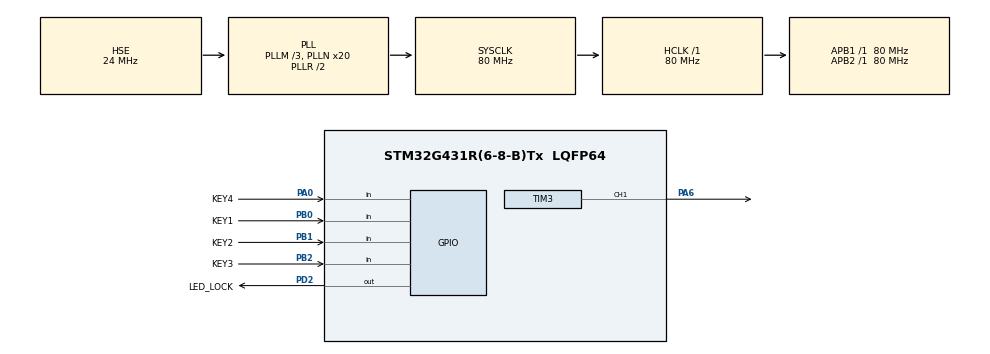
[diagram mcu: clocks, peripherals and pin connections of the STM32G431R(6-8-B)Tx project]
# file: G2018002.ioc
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Mcu.Family=STM32G4
Mcu.Name=STM32G431R(6-8-B)Tx
Mcu.Package=LQFP64
NVIC.PriorityGroup=NVIC_PRIORITYGROUP_4
PA0.GPIO_Label=KEY4
PA0.Signal=GPIO_Input
PA6.Signal=S_TIM3_CH1
PB0.GPIO_Label=KEY1
PB0.Signal=GPIO_Input
PB1.GPIO_Label=KEY2
PB1.Signal=GPIO_Input
PB2.GPIO_Label=KEY3
PB2.Signal=GPIO_Input
PD2.GPIO_Label=LED_LOCK
PD2.Signal=GPIO_Output
PF0-OSC_IN.Mode=HSE-External-Oscillator
PF0-OSC_IN.Signal=RCC_OSC_IN
PF1-OSC_OUT.Mode=HSE-External-Oscillator
PF1-OSC_OUT.Signal=RCC_OSC_OUT
ProjectManager.HeapSize=0x200
ProjectManager.StackSize=0x400
ProjectManager.TargetToolchain=MDK-ARM V5.32
RCC.ADC12Freq_Value=80000000
RCC.AHBFreq_Value=80000000
RCC.APB1Freq_Value=80000000
RCC.APB1TimFreq_Value=80000000
RCC.APB2Freq_Value=80000000
RCC.APB2TimFreq_Value=80000000
RCC.CortexFreq_Value=80000000
RCC.EXTERNAL_CLOCK_VALUE=12288000
RCC.HCLKFreq_Value=80000000
RCC.HSE_VALUE=24000000
RCC.HSI48_VALUE=48000000
RCC.HSI_VALUE=16000000
RCC.LSE_VALUE=32768
RCC.PLLM=RCC_PLLM_DIV3
RCC.PLLN=20
RCC.PLLSourceVirtual=RCC_PLLSOURCE_HSE
RCC.SYSCLKFreq_VALUE=80000000
RCC.SYSCLKSource=RCC_SYSCLKSOURCE_PLLCLK
RCC.USBFreq_Value=80000000
RCC.VCOOutputFreq_Value=160000000
SH.S_TIM3_CH1.0=TIM3_CH1,PWM Generation1 CH1
TIM3.AutoReloadPreload=TIM_AUTORELOAD_PRELOAD_DISABLE
TIM3.Channel-PWM\ Generation1\ CH1=TIM_CHANNEL_1
TIM3.PeriodNoDither=999
TIM3.Prescaler=79
TIM3.PulseNoDither_1=800
VP_SYS_VS_DBSignals.Mode=DisableDeadBatterySignals
board=custom

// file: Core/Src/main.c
/* USER CODE BEGIN Header */
/**
 ******************************************************************************
 * @file           : main.c
 * @brief          : Main program body
 ******************************************************************************
 * @attention
 *
 * <h2><center>&copy; Copyright (c) 2022 STMicroelectronics.
 * All rights reserved.</center></h2>
 *
 * This software component is licensed by ST under BSD 3-Clause license,
 * the "License"; You may not use this file except in compliance with the
 * License. You may obtain a copy of the License at:
 *                        opensource.org/licenses/BSD-3-Clause
 *
 ******************************************************************************
 */
/* USER CODE END Header */
#include "main.h"
#include "tim.h"
#include "gpio.h"

/* USER CODE BEGIN Includes */
#include "lcd.h"
#include "bsp.h"
#include "bsp_i2c.h"

#include "stdio.h"
#include "string.h"

/* USER CODE END Includes */

/* USER CODE BEGIN PTD */
typedef enum
{
    StandBy,
    Setting,
    Running,
    Pause,
} Timer_State_Type;

/* USER CODE END PTD */

/* USER CODE BEGIN PD */

// 软件定时器
#define Task_Delay(Task_ID, Tick)               \
    if (SW_Timer_Tick[Task_ID] > HAL_GetTick()) \
        return;                                 \
    SW_Timer_Tick[Task_ID] = HAL_GetTick() + Tick;

// 地址偏移 每道题不会覆盖之前的数据
#define EEPROM_OFFSET 4

/* USER CODE END PD */

/* USER CODE BEGIN PV */
static vu32 SW_Timer_Tick[6] = {0};

u8 LCD_Update_Flag = 1;
u8 LCD_String_Buffer[21] = {0};
u8 KEY_Val, KEY_Down, KEY_Old = 0, KEY_Up = 0;
u8 LED_State = 0x00;

u8 Timer_Index = 0;
Timer_State_Type Timer_State = StandBy;
u8 Timer_Data_Disp[3] = {0};
u32 Timer_Convert_Sec = 0; // 将时间转换为秒
u32 Timer_Tick_Dt = 0;     // ※ 保存现场的变量
u8 Setting_Index = 0;

/* USER CODE END PV */

void SystemClock_Config(void);
/* USER CODE BEGIN PFP */
void LED_Task(void);
void LCD_Task(void);
void Timer_Task(void);
void KEY_With_Logic_Task(void);
void Timer_Set_State(Timer_State_Type State);

/* USER CODE END PFP */

int main(void)
{

    /* MCU Configuration--------------------------------------------------------*/

    /* Reset of all peripherals, Initializes the Flash interface and the Systick. */
    HAL_Init();

    /* Configure the system clock */
    SystemClock_Config();

    /* Initialize all configured peripherals */
    MX_GPIO_Init();
    MX_TIM3_Init();
    /* USER CODE BEGIN 2 */
    LCD_Init();
    LCD_Clear(Black);
    LCD_SetBackColor(Black);
    LCD_SetTextColor(White);

    LED_Disp(LED_State);

    I2CInit();
    // EEPROM_Write((u8 *)Timer_Data_Ctrl, 15, EEPROM_OFFSET);
    Timer_Set_State(StandBy);

    __HAL_TIM_SET_COMPARE(&htim3, TIM_CHANNEL_1, 800);
    /* USER CODE END 2 */

    /* Infinite loop */
    /* USER CODE BEGIN WHILE */
    while (1)
    {
        LED_Task();
        LCD_Task();
        Timer_Task();
        KEY_With_Logic_Task();

        /* USER CODE END WHILE */

    }
}

void SystemClock_Config(void)
{
    RCC_OscInitTypeDef RCC_OscInitStruct = {0};
    RCC_ClkInitTypeDef RCC_ClkInitStruct = {0};

    /** Configure the main internal regulator output voltage
     */
    HAL_PWREx_ControlVoltageScaling(PWR_REGULATOR_VOLTAGE_SCALE1);
    /** Initializes the RCC Oscillators according to the specified parameters
     * in the RCC_OscInitTypeDef structure.
     */
    RCC_OscInitStruct.OscillatorType = RCC_OSCILLATORTYPE_HSE;
    RCC_OscInitStruct.HSEState = RCC_HSE_ON;
    RCC_OscInitStruct.PLL.PLLState = RCC_PLL_ON;
    RCC_OscInitStruct.PLL.PLLSource = RCC_PLLSOURCE_HSE;
    RCC_OscInitStruct.PLL.PLLM = RCC_PLLM_DIV3;
    RCC_OscInitStruct.PLL.PLLN = 20;
    RCC_OscInitStruct.PLL.PLLP = RCC_PLLP_DIV2;
    RCC_OscInitStruct.PLL.PLLQ = RCC_PLLQ_DIV2;
    RCC_OscInitStruct.PLL.PLLR = RCC_PLLR_DIV2;
    if (HAL_RCC_OscConfig(&RCC_OscInitStruct) != HAL_OK)
    {
        Error_Handler();
    }
    /** Initializes the CPU, AHB and APB buses clocks
     */
    RCC_ClkInitStruct.ClockType = RCC_CLOCKTYPE_HCLK | RCC_CLOCKTYPE_SYSCLK | RCC_CLOCKTYPE_PCLK1 | RCC_CLOCKTYPE_PCLK2;
    RCC_ClkInitStruct.SYSCLKSource = RCC_SYSCLKSOURCE_PLLCLK;
    RCC_ClkInitStruct.AHBCLKDivider = RCC_SYSCLK_DIV1;
    RCC_ClkInitStruct.APB1CLKDivider = RCC_HCLK_DIV1;
    RCC_ClkInitStruct.APB2CLKDivider = RCC_HCLK_DIV1;

    if (HAL_RCC_ClockConfig(&RCC_ClkInitStruct, FLASH_LATENCY_2) != HAL_OK)
    {
        Error_Handler();
    }
}

/* USER CODE BEGIN 4 */
void Timer_Set_State(Timer_State_Type State)
{
    switch (State)
    {
    case StandBy:
        Timer_State = StandBy;
        Timer_Tick_Dt = 0;

        LED_State = 0;
        LED_Disp(LED_State);
        HAL_TIM_PWM_Stop(&htim3, TIM_CHANNEL_1);

        EEPROM_Read((u8 *)Timer_Data_Disp, 3, Timer_Index * 3 + EEPROM_OFFSET);
        break;

    case Setting:
        Timer_State = Setting;
        Timer_Tick_Dt = 0;

        LED_State = 0;
        LED_Disp(LED_State);
        HAL_TIM_PWM_Stop(&htim3, TIM_CHANNEL_1);
        break;

    case Running:
        if (Timer_Data_Disp[0] || Timer_Data_Disp[1] || Timer_Data_Disp[2])
        {
            Timer_State = Running;
            SW_Timer_Tick[3] = HAL_GetTick() + Timer_Tick_Dt; // ※ 恢复现场

            HAL_TIM_PWM_Start(&htim3, TIM_CHANNEL_1);
        }
        break;

    case Pause:
        Timer_State = Pause;
        Timer_Tick_Dt = SW_Timer_Tick[3] - HAL_GetTick(); // ※ 保存现场

        LED_State = 0;
        LED_Disp(LED_State);
        HAL_TIM_PWM_Stop(&htim3, TIM_CHANNEL_1);
        break;
    }
}

void LED_Task(void)
{
    if (Timer_State == Running)
    {
        Task_Delay(4, 250);
        LED_State ^= 1;
        LED_Disp(LED_State);
    }
}

void LCD_Task(void)
{
    Task_Delay(0, 100);

    sprintf((char *)LCD_String_Buffer, "   No:%d", Timer_Index + 1);
    LCD_DisplayStringLine(Line2, LCD_String_Buffer);

    sprintf((char *)LCD_String_Buffer, "      %02d:%02d:%02d    ", Timer_Data_Disp[0], Timer_Data_Disp[1], Timer_Data_Disp[2]);
    if (Timer_State == Setting)
    {
        switch (Setting_Index)
        {
        case 0:
            LCD_SetBackColor(Blue);
            LCD_DisplayChar(Line5, 319 - 16 * 6, LCD_String_Buffer[6]);
            LCD_DisplayChar(Line5, 319 - 16 * 7, LCD_String_Buffer[7]);
            LCD_SetBackColor(Black);
            LCD_DisplayChar(Line5, 319 - 16 * 12, LCD_String_Buffer[12]);
            LCD_DisplayChar(Line5, 319 - 16 * 13, LCD_String_Buffer[13]);
            break;

        case 1:
            LCD_SetBackColor(Blue);
            LCD_DisplayChar(Line5, 319 - 16 * 9, LCD_String_Buffer[9]);
            LCD_DisplayChar(Line5, 319 - 16 * 10, LCD_String_Buffer[10]);
            LCD_SetBackColor(Black);
            LCD_DisplayChar(Line5, 319 - 16 * 6, LCD_String_Buffer[6]);
            LCD_DisplayChar(Line5, 319 - 16 * 7, LCD_String_Buffer[7]);
            break;

        case 2:
            LCD_SetBackColor(Blue);
            LCD_DisplayChar(Line5, 319 - 16 * 12, LCD_String_Buffer[12]);
            LCD_DisplayChar(Line5, 319 - 16 * 13, LCD_String_Buffer[13]);
            LCD_SetBackColor(Black);
            LCD_DisplayChar(Line5, 319 - 16 * 9, LCD_String_Buffer[9]);
            LCD_DisplayChar(Line5, 319 - 16 * 10, LCD_String_Buffer[10]);
            break;
        }
    }
    else
    {
        LCD_DisplayStringLine(Line5, LCD_String_Buffer);
    }

    switch (Timer_State)
    {
    case StandBy:
        sprintf((char *)LCD_String_Buffer, "       StandBy");
        break;

    case Setting:
        sprintf((char *)LCD_String_Buffer, "       Setting");
        break;

    case Running:
        sprintf((char *)LCD_String_Buffer, "       Running");
        break;

    case Pause:
        sprintf((char *)LCD_String_Buffer, "        Pause ");
        break;
    }
    LCD_DisplayStringLine(Line8, LCD_String_Buffer);
}

void Timer_Task(void)
{
    if (Timer_State == Running)
    {
        Task_Delay(3, 1000);
        Timer_Convert_Sec = ((Timer_Data_Disp[0] * 60 + Timer_Data_Disp[1]) * 60 + Timer_Data_Disp[2]);

        if (Timer_Convert_Sec)
        {
            Timer_Convert_Sec--;

            Timer_Data_Disp[0] = Timer_Convert_Sec / 3600;
            Timer_Data_Disp[1] = Timer_Convert_Sec / 60 % 60;
            Timer_Data_Disp[2] = Timer_Convert_Sec % 60;
        }
        else
        {
            Timer_Set_State(StandBy);
        }
    }
}

void KEY_With_Logic_Task(void)
{
    Task_Delay(1, 50);

    KEY_Val = KEY_Scan();
    KEY_Down = KEY_Val & (KEY_Val ^ KEY_Old);
    KEY_Up = ~KEY_Val & (KEY_Val ^ KEY_Old);
    KEY_Old = KEY_Val;

    if (KEY_Down)
    {
        SW_Timer_Tick[2] = HAL_GetTick() + 800;
    }

    switch (Timer_State)
    {
    case StandBy:
        if (SW_Timer_Tick[2] > HAL_GetTick())
        {
            switch (KEY_Up) // 短按处理
            {
            case 1:
                if (++Timer_Index == 5)
                    Timer_Index = 0;
                Timer_Set_State(StandBy);
                break;

            case 2:
                Timer_Set_State(Setting);
                break;

            case 4:
                Timer_Set_State(Running);
                break;
            }
        }
        break;

    case Setting:
        if (SW_Timer_Tick[2] > HAL_GetTick())
        {
            switch (KEY_Up) // 短按处理
            {
            case 2:
                if (++Setting_Index == 3)
                    Setting_Index = 0;
                break;

            case 3:
                if (Setting_Index == 0)
                {
                    if (++Timer_Data_Disp[Setting_Index] == 24)
                        Timer_Data_Disp[Setting_Index] = 0;
                }
                else
                {
                    if (++Timer_Data_Disp[Setting_Index] == 60)
                        Timer_Data_Disp[Setting_Index] = 0;
                }
                break;

            case 4:
                Timer_Set_State(Running);
                break;
            }
        }
        else
        {
            switch (KEY_Val) // 长按处理
            {
            case 2:
                for (u8 i = 0; i < 3; i++)
                {
                    EEPROM_Write(&Timer_Data_Disp[i], 1, EEPROM_OFFSET + Timer_Index * 3 + i); // ※ 每个字节要单独存储，不易出错
                }
                Timer_Set_State(StandBy);
                break;

            case 3:
                if (Setting_Index == 0)
                {
                    if (++Timer_Data_Disp[Setting_Index] >= 24)
                        Timer_Data_Disp[Setting_Index] = 0;
                }
                else
                {
                    if (++Timer_Data_Disp[Setting_Index] >= 60)
                        Timer_Data_Disp[Setting_Index] = 0;
                }
                break;

            case 4:
                Timer_Set_State(StandBy);
                break;
            }
        }
        break;

    case Running:
        if (SW_Timer_Tick[2] > HAL_GetTick())
        {
            switch (KEY_Up) // 短按处理
            {
            case 4:
                Timer_Set_State(Pause);
                break;
            }
        }
        else
        {
            switch (KEY_Val) // 长按处理
            {
            case 4:
                Timer_Set_State(StandBy);
                break;
            }
        }
        break;

    case Pause:
        if (SW_Timer_Tick[2] > HAL_GetTick())
        {
            switch (KEY_Up) // 短按处理
            {
            case 4:
                Timer_Set_State(Running);
                break;
            }
        }
        else
        {
            switch (KEY_Val) // 长按处理
            {
            case 4:
                Timer_Set_State(StandBy);
                break;
            }
        }
        break;
    }
}

/* USER CODE END 4 */

void Error_Handler(void)
{
    __disable_irq();
    while (1)
    {
    }
}

/************************ (C) COPYRIGHT STMicroelectronics *****END OF FILE****/
